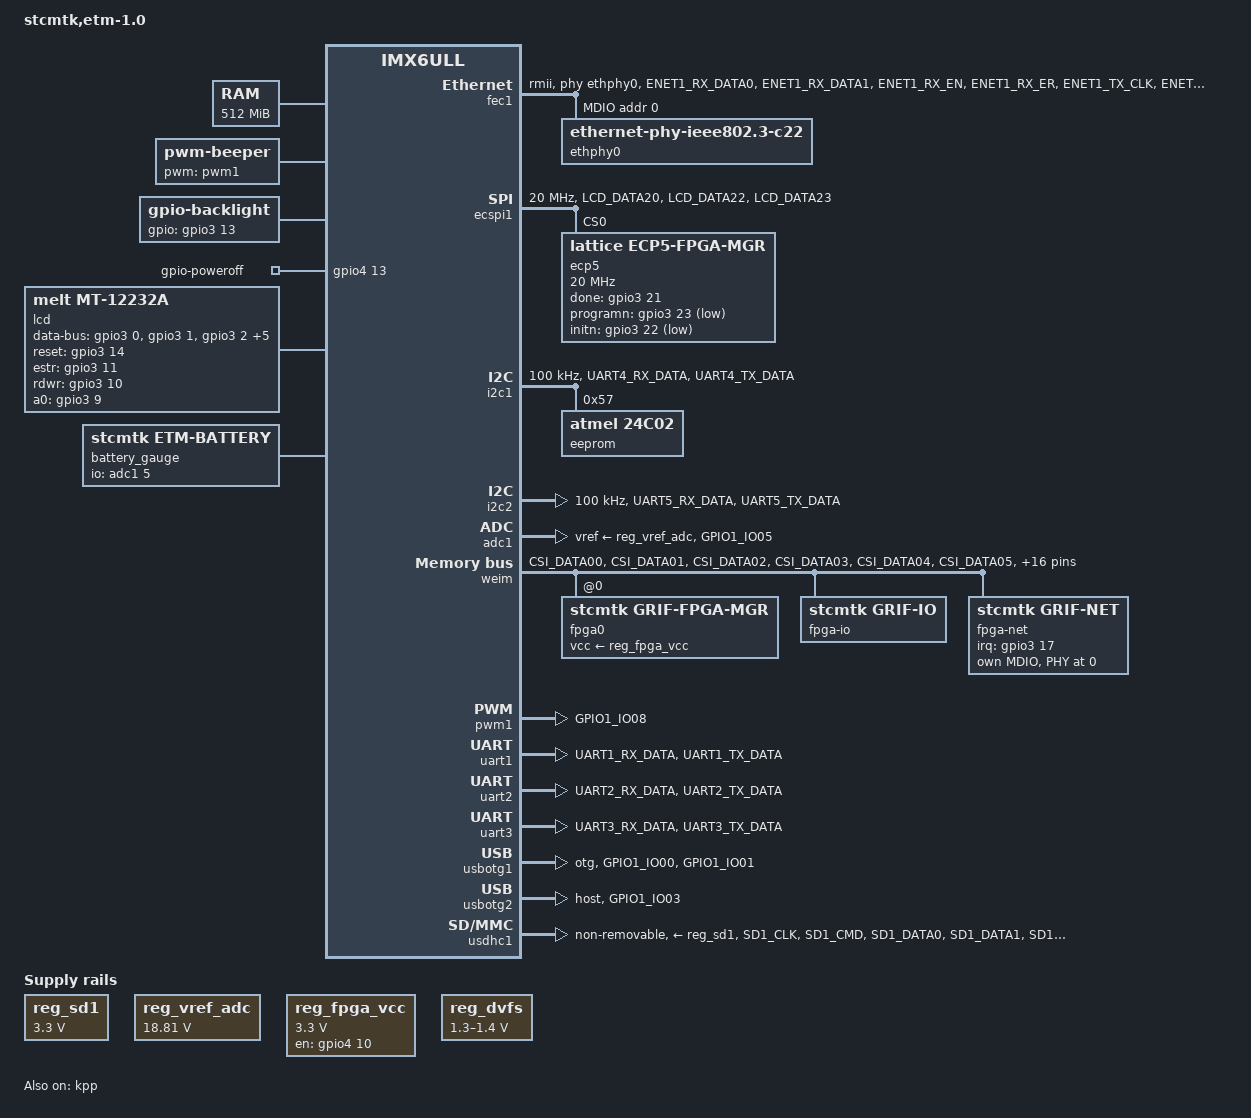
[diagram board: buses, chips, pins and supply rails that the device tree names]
/*
 * Copyright (C) 2016 Freescale Semiconductor, Inc.
 * Copyright 2017 NXP
 *
 * This program is free software; you can redistribute it and/or modify
 * it under the terms of the GNU General Public License version 2 as
 * published by the Free Software Foundation.
 */

/dts-v1/;

#include <dt-bindings/input/input.h>
#include "imx6ull.dtsi"

/ {
	model = "stcmtk,etm-1.0";
	compatible = "stcmtk,etm", "fsl,imx6ull";

	chosen {
		stdout-path = &uart1;
	};

	memory {
		reg = <0x80000000 0x20000000>;
	};

	reserved-memory {
		#address-cells = <1>;
		#size-cells = <1>;
		ranges;

		linux,cma {
			compatible = "shared-dma-pool";
			reusable;
			size = <0x6000000>;
			linux,cma-default;
		};
	};

	regulators {
		compatible = "simple-bus";
		#address-cells = <1>;
		#size-cells = <0>;

		reg_sd1: sd1@0 {
			compatible = "regulator-fixed";
			regulator-name = "SD1_PWR_STUB";
			regulator-min-microvolt = <3300000>;
			regulator-max-microvolt = <3300000>;
			regulator-always-on;
		};

		reg_vref_adc: vref_adc@1 {
			compatible = "regulator-fixed";
			regulator-name = "ADC_REF_STUB";
			/* This regulator is used for ETM battery ADC reference
			 * voltage representing. ADC measures battery voltage
			 * behind the voltage divider with factor = 5.7. So
			 * real battery voltage equals ADC voltage * 5.7, and
			 * max ADC voltage is 3.3 * 5.7 = 18.81
			 */
			regulator-min-microvolt = <18810000>;
			regulator-max-microvolt = <18810000>;
			regulator-always-on;
		};

		reg_fpga_vcc: fpga0@2 {
			pinctrl-names = "default";
			pinctrl-0 = <&pinctrl_fpga0_pwr>;
			compatible = "regulator-fixed";
			regulator-name = "FPGA_3V3_REG";
			regulator-type = "voltage";
			regulator-min-microvolt = <3300000>;
			regulator-max-microvolt = <3300000>;
			enable-active-high;
			gpio = <&gpio4 10 GPIO_ACTIVE_HIGH>;
		};

		reg_dvfs: reg@4 {
			compatible = "regulator-gpio";
			pinctrl-names = "default";
			pinctrl-0 = <&pinctrl_dvfs>;
			regulator-name = "gpio_dvfs";
			regulator-type = "voltage";
			regulator-min-microvolt = <1300000>;
			regulator-max-microvolt = <1400000>;
			gpios = <&gpio5 3 GPIO_ACTIVE_HIGH>;
			states = <1300000 0x1
			          1400000 0x0>;
		};
	};

	beeper {
		compatible = "pwm-beeper";
		status = "okay";
		pwms = <&pwm1>;
	};

	backlight {
		pinctrl-names = "default";
		pinctrl-0 = <&pinctrl_backlight>;
		compatible = "gpio-backlight";
		status = "okay";
		gpios = <&gpio3 13 GPIO_ACTIVE_HIGH>;
		default-on;
	};

	gpio-poweroff {
		pinctrl-names = "default";
		pinctrl-0 = <&pinctrl_poweroff>;
		compatible = "gpio-poweroff";
		status = "okay";
		gpios = <&gpio4 13 GPIO_ACTIVE_HIGH>;
	};

	lcd {
		compatible = "melt,mt-12232a";
		pinctrl-names = "default";
		pinctrl-0 = <&pinctrl_lcd>;
		data-bus-gpios = <&gpio3 0  GPIO_ACTIVE_HIGH   /* DB0   */
		                  &gpio3 1  GPIO_ACTIVE_HIGH   /* DB1   */
		                  &gpio3 2  GPIO_ACTIVE_HIGH   /* DB2   */
		                  &gpio3 3  GPIO_ACTIVE_HIGH   /* DB3   */
		                  &gpio3 5  GPIO_ACTIVE_HIGH   /* DB4   */
		                  &gpio3 6  GPIO_ACTIVE_HIGH   /* DB5   */
		                  &gpio3 7  GPIO_ACTIVE_HIGH   /* DB6   */
		                  &gpio3 8  GPIO_ACTIVE_HIGH>; /* DB7   */
		reset-gpios    = <&gpio3 14 GPIO_ACTIVE_HIGH>; /* RESET */
		cs-gpios       = <&gpio3 12 GPIO_ACTIVE_HIGH>; /* CS    */
		estr-gpios     = <&gpio3 11 GPIO_ACTIVE_HIGH>; /* ESTR  */
		rdwr-gpios     = <&gpio3 10 GPIO_ACTIVE_HIGH>; /* RDWR  */
		a0-gpios       = <&gpio3 9  GPIO_ACTIVE_HIGH>; /* A0    */
		status = "okay";
	};

	gpio-exporter {
		compatible = "linux,gpio-exporter";
		status = "okay";
		exported-gpios = <&gpio4 15 GPIO_ACTIVE_HIGH>,
				 <&gpio4 12 GPIO_ACTIVE_HIGH>,
				 <&gpio3 16 GPIO_ACTIVE_HIGH>;
		exported-gpio-names = "mcu-boot", "mcu-pwr-en", "poe-gpio";
		exported-gpio-directions = "low", "high", "low";
	};

	bat_info: battery_info {
		compatible = "simple-battery";
		voltage-min-design-microvolt = <6200000>;
		charge-full-design-microamp-hours = <2600000>;
		constant_charge_voltage_max_microvolt = <8400000>;
	};

	battery_gauge {
		compatible = "stcmtk,etm-battery";
		monitored-battery = <&bat_info>;
		io-channels = <&adc1 5>;
		io-channel-names = "voltage";
		charge-detect-voltage-microvolt = <10000000>;
	};
};

&cpu0 {
	/*
	 * on i.MX6ULL, no seperated VDD_ARM_IN and VDD_SOC_IN,
	 * to align with other platform and use the same cpufreq
	 * driver, still use the seperated OPP define for arm
	 * and soc.
	 */
	operating-points = <
		/* kHz  uV */
		528000  1175000
		396000  1025000
		198000  950000
	>;
	fsl,soc-operating-points = <
		/* KHz  uV */
		528000  1175000
		396000  1175000
		198000  1175000
	>;
	fsl,low-power-run;
	fsl,arm-soc-shared = <0>;
	clock-frequency = <528000000>;
	dc-supply = <&reg_dvfs>;
};

&kpp {
	pinctrl-names = "default","sleep","idle","init";
	pinctrl-0 = <&pinctrl_kpp>;
	pinctrl-1 = <&pinctrl_kpp>;
	pinctrl-2 = <&pinctrl_kpp>;
	pinctrl-3 = <&pinctrl_kpp>;
	linux,autorepeat-delay = <500>; /* miliseconds */
	linux,autorepeat-period = <50>; /* miliseconds */
	linux,keymap = <
			MATRIX_KEY(4, 5, KEY_KPASTERISK)
			MATRIX_KEY(0, 5, KEY_7)
			MATRIX_KEY(5, 5, KEY_4)
			MATRIX_KEY(6, 5, KEY_1)
			MATRIX_KEY(7, 5, KEY_HOME)
			MATRIX_KEY(5, 4, KEY_LEFT)
			MATRIX_KEY(5, 0, KEY_ESC)
			MATRIX_KEY(4, 6, KEY_0)
			MATRIX_KEY(0, 6, KEY_8)
			MATRIX_KEY(5, 6, KEY_5)
			MATRIX_KEY(6, 6, KEY_2)
			MATRIX_KEY(7, 6, KEY_DOWN)
			MATRIX_KEY(6, 4, KEY_UP)
			MATRIX_KEY(4, 7, KEY_GRAVE)
			MATRIX_KEY(0, 7, KEY_9)
			MATRIX_KEY(5, 7, KEY_6)
			MATRIX_KEY(6, 7, KEY_3)
			MATRIX_KEY(7, 7, KEY_END)
			MATRIX_KEY(7, 4, KEY_RIGHT)
			MATRIX_KEY(7, 0, KEY_ENTER)
	>;
	clocks = <&clks IMX6UL_CLK_KPP>;
	status = "okay";
};

&fec1 {
	pinctrl-names = "default";
	pinctrl-0 = <&pinctrl_enet1 &pinctrl_ethphy0 &pinctrl_mdio0>;
	phy-mode = "rmii";
	phy-handle = <&ethphy0>;
	phy-reset-gpios = <&gpio4 14 GPIO_ACTIVE_HIGH>;
	local-mac-address = [00 21 ce 65 46 37];
	status = "okay";

	mdio {
		#address-cells = <1>;
		#size-cells = <0>;

		ethphy0: ethernet-phy@0 {
			compatible = "ethernet-phy-ieee802.3-c22";
			reg = <0>;
		};
	};
};

&gpc {
	fsl,cpu_pupscr_sw2iso = <0xf>;
	fsl,cpu_pupscr_sw = <0x0>;
	fsl,cpu_pdnscr_iso2sw = <0x1>;
	fsl,cpu_pdnscr_iso = <0x1>;
	fsl,ldo-bypass = <0>; /* DCDC, ldo-enable */
};

&ecspi1 {
	pinctrl-names = "default";
	pinctrl-0 = <&pinctrl_ecspi1>;
	clock-frequency = <20000000>;
	status = "okay";
	fsl,spi-num-chipselects = <1>;
	/* Actually there is no CS muxed to the pin  because we need to
	 * drive CS manually from the Lattice ECP5 FPGA driver
	 * see pinmux definition for details
	 */
	cs-gpios = <0>;

	ecp5: ecp5@0 {
	        pinctrl-names = "default";
	        pinctrl-0 = <&pinctrl_ecp5 &pinctrl_ecp5_spi_cs>;
		compatible = "lattice,ecp5-fpga-mgr";
		status = "okay";
		spi-max-frequency = <20000000>;
		reg = <0>;
		cs-gpios = <&gpio3 26 GPIO_ACTIVE_LOW>;
		done-gpios = <&gpio3 21 GPIO_ACTIVE_HIGH>;
		programn-gpios = <&gpio3 23 GPIO_ACTIVE_LOW>;
		initn-gpios = <&gpio3 22 GPIO_ACTIVE_LOW>;
	};
};

&i2c1 {
	clock-frequency = <100000>;
	pinctrl-names = "default";
	pinctrl-0 = <&pinctrl_i2c1>;
	status = "okay";

	eeprom@57 {
		pinctrl-names = "default";
		pinctrl-0 = <&pinctrl_eeprom1>;
		compatible = "atmel,24c02";
		reg = <0x57>;
		pagesize = <16>;
	};
};

&i2c2 {
	clock-frequency = <100000>;
	pinctrl-names = "default";
	pinctrl-0 = <&pinctrl_i2c2>;
	status = "okay";
};

&iomuxc {
	pinctrl-names = "default";
	pinctrl-0 = <&pinctrl_hog_1>;
	stcmtk-lan-tester {
		pinctrl_hog_1: hoggrp-1 {
			fsl,pins = <
				/* JTAG */
				MX6UL_PAD_JTAG_MOD__SJC_MOD               0x0000B0A0
				MX6UL_PAD_JTAG_TCK__SJC_TCK               0x000070A0
				MX6UL_PAD_JTAG_TDI__SJC_TDI               0x000070A0
				MX6UL_PAD_JTAG_TDO__SJC_TDO               0x000090B1
				MX6UL_PAD_JTAG_TMS__SJC_TMS               0x000070A0
				MX6UL_PAD_JTAG_TRST_B__SJC_TRSTB          0x000070A0

				/* FPGA */
				MX6UL_PAD_GPIO1_IO02__SDMA_EXT_EVENT00    0x000010B0 /* SDMA INT */
				MX6UL_PAD_LCD_DATA12__GPIO3_IO17          0x000010B0 /* FPGA_INT_1 */
				MX6UL_PAD_LCD_DATA13__GPIO3_IO18          0x000010B0 /* FPGA_INT_2 */
				MX6UL_PAD_LCD_DATA14__GPIO3_IO19          0x000010B0 /* FPGA_INT_3 */
				MX6UL_PAD_LCD_DATA15__GPIO3_IO20          0x000010B0 /* FPGA_INT_4 */

				MX6UL_PAD_LCD_DATA19__GPIO3_IO24          0x000010B0 /* GSRN - FPGA RESET */

				/* CABLE TESTING - STM32 MCU */
				MX6UL_PAD_NAND_CLE__GPIO4_IO15            0x000010B0 /* MCU_BOOT */
				MX6UL_PAD_NAND_READY_B__GPIO4_IO12        0x000010B0 /* LAN_TESTER_PWR_EN */
				MX6UL_PAD_LCD_DATA11__GPIO3_IO16          0x000010B0 /* POE_CLASS4_EN */

				/* WLAN - ESP8266 */
				MX6UL_PAD_UART2_CTS_B__GPIO1_IO22         0x000010B0 /* WLESS_FLASH_PROG */
				MX6UL_PAD_UART2_RTS_B__GPIO1_IO23         0x000010B0 /* WLESS_RESET */
				MX6UL_PAD_UART3_CTS_B__GPIO1_IO26         0x000010B0 /* WLESS_PWR_EN */
			>;
		};

		pinctrl_poweroff: poweroffgrp {
			fsl,pins = <
				/* GPIO POWEROFF (suicide) */
				MX6UL_PAD_NAND_CE0_B__GPIO4_IO13          0x000010B0 /* SW_OFF */
			>;
		};

		pinctrl_backlight: backlightgrp {
			fsl,pins = <
				MX6UL_PAD_LCD_DATA08__GPIO3_IO13          0x000010B0 /* BACKLIGHT_ON */
			>;
		};

		pinctrl_weim: weimgrp {
			fsl,pins = <
				MX6UL_PAD_CSI_DATA00__EIM_AD00            0x000010E9
				MX6UL_PAD_CSI_DATA01__EIM_AD01            0x000010E9
				MX6UL_PAD_CSI_DATA02__EIM_AD02            0x000010E9
				MX6UL_PAD_CSI_DATA03__EIM_AD03            0x000010E9
				MX6UL_PAD_CSI_DATA04__EIM_AD04            0x000010E9
				MX6UL_PAD_CSI_DATA05__EIM_AD05            0x000010E9
				MX6UL_PAD_CSI_DATA06__EIM_AD06            0x000010E9
				MX6UL_PAD_CSI_DATA07__EIM_AD07            0x000010E9
				MX6UL_PAD_CSI_HSYNC__EIM_LBA_B            0x000010E9
				MX6UL_PAD_CSI_MCLK__EIM_CS0_B             0x000010E9
				MX6UL_PAD_CSI_PIXCLK__EIM_OE              0x000010E9
				MX6UL_PAD_CSI_VSYNC__EIM_RW               0x000010E9
				MX6UL_PAD_NAND_DATA00__EIM_AD08           0x000010E9
				MX6UL_PAD_NAND_DATA01__EIM_AD09           0x000010E9
				MX6UL_PAD_NAND_DATA02__EIM_AD10           0x000010E9
				MX6UL_PAD_NAND_DATA03__EIM_AD11           0x000010E9
				MX6UL_PAD_NAND_DATA04__EIM_AD12           0x000010E9
				MX6UL_PAD_NAND_DATA05__EIM_AD13           0x000010E9
				MX6UL_PAD_NAND_DATA06__EIM_AD14           0x000010E9
				MX6UL_PAD_NAND_DATA07__EIM_AD15           0x000010E9
				MX6UL_PAD_NAND_DQS__EIM_WAIT              0x000010E9
				MX6UL_PAD_NAND_WP_B__EIM_BCLK             0x000010E9
			>;
		};

		pinctrl_adc1: adc1grp {
			fsl,pins = <
				/* BATTERY VOLTAGE */
				MX6UL_PAD_GPIO1_IO05__GPIO1_IO05          0x000000B0
			>;
		};

		pinctrl_buzzer1: buzzer1grp {
			fsl,pins = <
				MX6UL_PAD_GPIO1_IO08__PWM1_OUT            0x000110B0
			>;
		};

		pinctrl_enet1: enet1grp {
			fsl,pins = <
				MX6UL_PAD_ENET1_RX_DATA0__ENET1_RDATA00   0x0001B0B0
				MX6UL_PAD_ENET1_RX_DATA1__ENET1_RDATA01   0x0001B0B0
				MX6UL_PAD_ENET1_RX_EN__ENET1_RX_EN        0x0001B0B0
				MX6UL_PAD_ENET1_RX_ER__ENET1_RX_ER        0x0001B0B0
				MX6UL_PAD_ENET1_TX_CLK__ENET1_REF_CLK1    0x400010A9
				MX6UL_PAD_ENET1_TX_DATA0__ENET1_TDATA00   0x0001B0B0
				MX6UL_PAD_ENET1_TX_DATA1__ENET1_TDATA01   0x0001B0B0
				MX6UL_PAD_ENET1_TX_EN__ENET1_TX_EN        0x0001B0B0
			>;
		};

		pinctrl_mdio0: mdio0grp {
			fsl,pins = <
				MX6UL_PAD_GPIO1_IO07__ENET1_MDC           0x0001B0B0
				MX6UL_PAD_GPIO1_IO06__ENET1_MDIO          0x0001F829
			>;
		};

		pinctrl_ethphy0: ethphy0grp {
			fsl,pins = <
				/* ETH 10/100 PHY (D2, Micrel KSZ8081RNB) RESET */
				MX6UL_PAD_NAND_CE1_B__GPIO4_IO14          0x000010B0 /* PHY_nRST */
			>;
		};

		pinctrl_kpp: kppgrp {
			fsl,pins = <
				MX6UL_PAD_ENET2_RX_DATA0__KPP_ROW04       0x0001b010
				MX6UL_PAD_ENET2_RX_DATA1__KPP_COL04       0x000110b0
				MX6UL_PAD_ENET2_RX_EN__KPP_ROW05          0x0001b010
				MX6UL_PAD_ENET2_RX_ER__KPP_COL07          0x000110b0
				MX6UL_PAD_ENET2_TX_CLK__KPP_ROW07         0x0001b010
				MX6UL_PAD_ENET2_TX_DATA0__KPP_COL05       0x000110b0
				MX6UL_PAD_ENET2_TX_DATA1__KPP_ROW06       0x0001b010
				MX6UL_PAD_ENET2_TX_EN__KPP_COL06          0x000110b0
				MX6UL_PAD_NAND_RE_B__KPP_ROW00            0x0001b010
				MX6UL_PAD_NAND_WE_B__KPP_COL00            0x000110b0
			>;
		};

		pinctrl_lcd: lcdgrp {
			fsl,pins = <
				/* LCD */
				MX6UL_PAD_LCD_CLK__GPIO3_IO00             0x000010B0 /* DB0 */
				MX6UL_PAD_LCD_ENABLE__GPIO3_IO01          0x000010B0 /* DB1 */
				MX6UL_PAD_LCD_HSYNC__GPIO3_IO02           0x000010B0 /* DB2 */
				MX6UL_PAD_LCD_VSYNC__GPIO3_IO03           0x000010B0 /* DB3 */
				MX6UL_PAD_LCD_DATA00__GPIO3_IO05          0x000010B0 /* DB4 */
				MX6UL_PAD_LCD_DATA01__GPIO3_IO06          0x000010B0 /* DB5 */
				MX6UL_PAD_LCD_DATA02__GPIO3_IO07          0x000010B0 /* DB6 */
				MX6UL_PAD_LCD_DATA03__GPIO3_IO08          0x000010B0 /* DB7 */
				MX6UL_PAD_LCD_DATA04__GPIO3_IO09          0x000010B0 /* A0 */
				MX6UL_PAD_LCD_DATA05__GPIO3_IO10          0x000010B0 /* RD/WR */
				MX6UL_PAD_LCD_DATA06__GPIO3_IO11          0x000010B0 /* E */
				MX6UL_PAD_LCD_DATA07__GPIO3_IO12          0x000010B0 /* CS */
				MX6UL_PAD_LCD_DATA09__GPIO3_IO14          0x000010B0 /* RESET */
			>;
		};

		pinctrl_eeprom1: eeprom1grp {
			fsl,pins = <
				/*
				 * EEPROM write protect
				 *
				 * this pin is not consumed by the eeprom driver,
				 * but we can use it from userspace
				 */
				MX6UL_PAD_LCD_DATA10__GPIO3_IO15          0x000010B0
			>;
		};

		pinctrl_ecspi1: ecspi1grp {
			fsl,pins = <
		             /*
		              * This pin shoud be muxed in a separate group so that we can
		              * use it as a gpio. See below.
		              *
			      * MX6UL_PAD_LCD_DATA21__ECSPI1_SS0          0x000010B0
			      */
				MX6UL_PAD_LCD_DATA20__ECSPI1_SCLK         0x000010B0
				MX6UL_PAD_LCD_DATA22__ECSPI1_MOSI         0x000010B0
				MX6UL_PAD_LCD_DATA23__ECSPI1_MISO         0x000010B0
			>;
		};

		pinctrl_ecp5_spi_cs: ecp5-spi-cs-grp {
			/*
			 *  Here we mux PAD_UART4_RX_DATA (H17) to GPIO1_IO29 in place
			 *  of ECSPI2_SS0 to be able to drive CS. This is a workaround for
			 *  Lattice ECP5 FPGA Slave SPI programming algo, see Lattice
			 *  Programming Tools User Guide, ch. Slave SPI Embedded.
			 */
			fsl,pins = <
				MX6UL_PAD_LCD_DATA21__GPIO3_IO26          0x000010B0
			>;
		};

		pinctrl_ecp5: ecp5grp {
			fsl,pins = <
				/* FPGA ECP5 SysConfig */
				MX6UL_PAD_LCD_DATA16__GPIO3_IO21          0x000010B0 /* DONE */
				MX6UL_PAD_LCD_DATA17__GPIO3_IO22          0x000010B0 /* INITN */
				MX6UL_PAD_LCD_DATA18__GPIO3_IO23          0x000010B0 /* PROGRAMN */
			>;
		};

		pinctrl_wdog: wdoggrp {
			fsl,pins = <
				MX6UL_PAD_LCD_RESET__WDOG1_WDOG_ANY       0x000030B0
			>;
		};

                pinctrl_i2c1: i2c1grp {
			fsl,pins = <
				MX6UL_PAD_UART4_RX_DATA__I2C1_SDA         0x4001B8B1
				MX6UL_PAD_UART4_TX_DATA__I2C1_SCL         0x4001B8B1
			>;
		};

                pinctrl_i2c2: i2c2grp {
			fsl,pins = <
				MX6UL_PAD_UART5_RX_DATA__I2C2_SDA         0x4001B8B1
				MX6UL_PAD_UART5_TX_DATA__I2C2_SCL         0x4001B8B1
			>;
		};

		/* System console */
		pinctrl_uart1: uart1grp {
			fsl,pins = <
				MX6UL_PAD_UART1_RX_DATA__UART1_DCE_RX     0x0001B0B1
				MX6UL_PAD_UART1_TX_DATA__UART1_DCE_TX     0x0001B0B1
			>;
		};

		/* WLAN ESP8266 UART */
		pinctrl_uart2: uart2grp {
			fsl,pins = <
				MX6UL_PAD_UART2_RX_DATA__UART2_DCE_RX     0x0001B0B1
				MX6UL_PAD_UART2_TX_DATA__UART2_DCE_TX     0x0001B0B1
			>;
		};

		/* STM32 MCU UART */
		pinctrl_uart3: uart3grp {
			fsl,pins = <
				MX6UL_PAD_UART3_RX_DATA__UART3_DCE_RX     0x0001B0B1
				MX6UL_PAD_UART3_TX_DATA__UART3_DCE_TX     0x0001B0B1
			>;
		};

		pinctrl_usdhc1: usdhc1grp {
			fsl,pins = <
				MX6UL_PAD_SD1_CLK__USDHC1_CLK             0x00017059
				MX6UL_PAD_SD1_CMD__USDHC1_CMD             0x00010059
				MX6UL_PAD_SD1_DATA0__USDHC1_DATA0         0x00017059
				MX6UL_PAD_SD1_DATA1__USDHC1_DATA1         0x00017059
				MX6UL_PAD_SD1_DATA2__USDHC1_DATA2         0x00017059
				MX6UL_PAD_SD1_DATA3__USDHC1_DATA3         0x00017059
			>;
		};

		pinctrl_usbotg1: usbotg1grp {
			fsl,pins = <
				MX6UL_PAD_GPIO1_IO00__ANATOP_OTG1_ID      0x00017059
				MX6UL_PAD_GPIO1_IO01__USB_OTG1_OC         0x000010B0

			>;
		};

		pinctrl_usbotg2: usbotg2grp {
			fsl,pins = <
				MX6UL_PAD_GPIO1_IO03__USB_OTG2_OC         0x000010B0
			>;
		};

		pinctrl_fpga0_pwr: fpga0-pwr-grp {
			fsl,pins = <
				MX6UL_PAD_NAND_ALE__GPIO4_IO10            0x000010B0 /* PWR_FPGA_EN */
			>;
		};
        };
};

&iomuxc_snvs {
	stcmtk-lan-tester {
		pinctrl_dvfs: dvfsgrp {
			fsl,pins = <
				/* GPIO_DVFS */
				MX6ULL_PAD_SNVS_TAMPER3__GPIO5_IO03        0x000110A0
			>;
		};
	};
};

&adc1 {
	pinctrl-names = "default";
	pinctrl-0 = <&pinctrl_adc1>;
	vref-supply = <&reg_vref_adc>;
	num-channels = <6>;
	status = "okay";
	#io-channel-cells = <1>;
};

&weim {
	pinctrl-names = "default";
	pinctrl-0 = <&pinctrl_weim>;
	/* Open EIM clock gate */
	clocks = <&clks IMX6UL_CLK_EIM>;
	assigned-clocks = <&clks IMX6UL_CLK_EIM_SLOW_SEL>, <&clks IMX6UL_CLK_EIM_SLOW_PODF>;
	/* Choose PLL2 PFD2 clock source 400 MHz... */
	assigned-clock-parents = <&clks IMX6UL_CLK_PLL2_PFD2>;
	/* ... and divide it by 8 */
	assigned-clock-rates = <0>, <50000000>;
	status = "okay";
	#address-cells = <2>;
	#size-cells = <1>;
	ranges = <0 0 0x50000000 0x08000000>; /* We are using only CS0 */
	eim-continuous-bclk;

	fpga0: fpga@0,0 {
		compatible = "stcmtk,grif-fpga-mgr";
		#address-cells = <2>;
		#size-cells = <1>;
		reg = <0 0x0 0x00020000>; /* 16-bit address range but x2 since
					     EIM addresses are words, not bytes */
		fpga-name = "Main FPGA";
		/* CS0 Configuration registers:
		    CSxGCR1, CSxGCR2, CSxRCR1,
		    CSxRCR2, CSxWCR1, CSxWCR2*/
		fsl,weim-cs-timing = <0x0111008f 0x00001000 0x02000000
				      0x00000000 0x01000000 0x00000000>;
		ecp5-fpga-mgr = <&ecp5>;
		vcc-supply = <&reg_fpga_vcc>;
	};

	fpga-io {
		compatible = "stcmtk,grif-io";
		target-fpga = <&fpga0>;
	};

	fpga-net {
		compatible = "stcmtk,grif-net";
		target-fpga = <&fpga0>;

		mac-address = [00 21 CE 40 00 01];
		port-num = <0>;
		interrupt-parent = <&gpio3>;
		interrupts = <17 IRQ_TYPE_LEVEL_HIGH>,
				<18 IRQ_TYPE_LEVEL_HIGH>,
				<19 IRQ_TYPE_LEVEL_HIGH>,
				<20 IRQ_TYPE_LEVEL_HIGH>;

		phy-handle = <&ethphy2>;
		phy-mode = "rgmii-id";

		mdio {
			#address-cells = <1>;
			#size-cells = <0>;

			ethphy2: ethernet-phy@0 {
				compatible = "ethernet-phy-ieee802.3-c22";
				reg = <0>;
			};
		};
	};
};

&pwm1 {
	pinctrl-names = "default";
	pinctrl-0 = <&pinctrl_buzzer1>;
	status = "okay";
};

/* System console */
&uart1 {
	pinctrl-names = "default";
	pinctrl-0 = <&pinctrl_uart1>;
	status = "okay";
};

/* WLAN ESP8266 UART */
&uart2 {
	pinctrl-names = "default";
	pinctrl-0 = <&pinctrl_uart2>;
	status = "okay";
};

/* STM32 MCU UART */
&uart3 {
	pinctrl-names = "default";
	pinctrl-0 = <&pinctrl_uart3>;
	status = "okay";
};

&usbotg1 {
	pinctrl-names = "default";
	pinctrl-0 = <&pinctrl_usbotg1>;
	dr_mode = "otg";
	srp-disable;
	hnp-disable;
	adp-disable;
	status = "okay";
	disable-overcurrent;
};

&usbphy1 {
	tx-d-cal = <0x5>;
};

&usbotg2 {
	pinctrl-names = "default";
	pinctrl-0 = <&pinctrl_usbotg2>;
	dr_mode = "host";
	status = "okay";
	disable-overcurrent;
};

&usbphy2 {
	tx-d-cal = <0x5>;
};

&usdhc1 {
	pinctrl-names = "default";
	pinctrl-0 = <&pinctrl_usdhc1>;
	vmmc-supply = <&reg_sd1>;
	non-removable;
	no-1-8-v;
	non-removable;
	keep-power-in-suspend;
	status = "okay";
};

&wdog1 {
	pinctrl-names = "default";
	pinctrl-0 = <&pinctrl_wdog>;
	/*
	 *  Enable WDOG1_B and WDOG1_ANY external signals assertion on wdog1
	 *  timeout.
	 */
	fsl,ext-reset-output;
};
